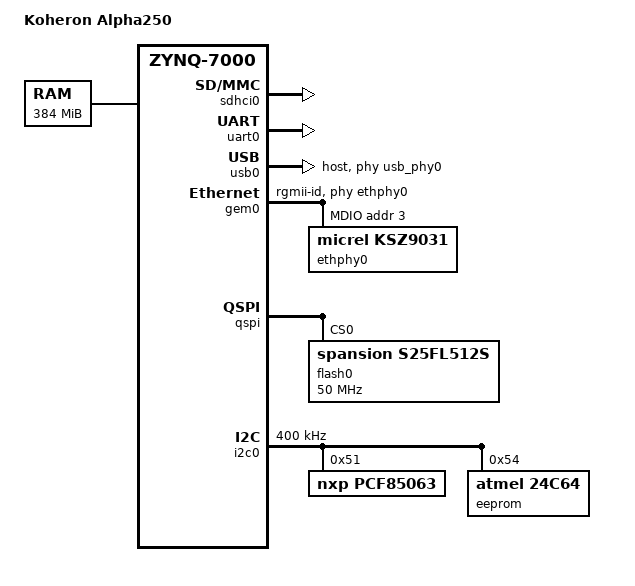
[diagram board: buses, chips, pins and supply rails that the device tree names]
/*
    * Koheron Alpha250 devicetree
     *
      * Copyright (C) 2015 Antmicro Ltd
       * Copyright (C) 2017 Koheron SAS
        *
         * SPDX-License-Identifier: GPL-2.0+
          */
/dts-v1/;
#include "zynq-7000.dtsi"
/ {
  model = "Koheron Alpha250";
  compatible = "xlnx,zynq-alpha250","xlnx,zynq-7000";
  aliases {
    serial0 = &uart0;
    mmc0 = &sdhci0;
    ethernet0 = &gem0;
    i2c0 = &i2c0;
  };
  memory@0 {
      device_type = "memory";
      reg = <0 0x18000000>;
    };
  chosen {
      bootargs = "";
      stdout-path = "serial0:115200n8";
    };
  usb_phy0: phy0@e0002000 {
    compatible = "ulpi-phy";
    #phy-cells = <0>;
    reg = <0xe0002000 0x1000>;
    view-port = <0x0170>;
    drv-vbus;
 };
};
&sdhci0 {
  bootph-pre-ram;
  status = "okay";
};
&uart0 {
  bootph-pre-ram;
  status = "okay";
};
&usb0 {
  status = "okay";
  dr_mode = "host";
  usb-phy = <&usb_phy0>;
};
&gem0 {
  status = "okay";
  phy-mode = "rgmii-id";
  phy-handle = <&ethphy0>;
  /* local-mac-address : FSBL/env import already provides ethaddr */
  mdio {
    #address-cells = <1>;
    #size-cells = <0>;

    ethphy0: ethernet-phy@3 {
      reg = <3>;
      compatible = "micrel,ksz9031";
      rxc-skew-ps = <1860>;
      rxdv-skew-ps = <420>;
      txc-skew-ps = <1860>;
      txen-skew-ps = <420>;
    };
  };
};
&qspi {
  status = "okay";
  num-cs = <1>;
  is-dual = <0>;
  bootph-pre-ram;
  flash0: flash@0 {
    reg = <0>;
    compatible = "spansion,s25fl512s", "jedec,spi-nor";
    spi-max-frequency = <50000000>;
    spi-rx-bus-width = <4>;
    spi-tx-bus-width = <4>;
  };
};
&i2c0 {
  status = "okay";
  clock-frequency = <400000>;
  bootph-pre-ram;

  pcf85063: rtc@51 {
    compatible = "nxp,pcf85063";
    reg = <0x51>;
    status = "okay";
  };

  eeprom@54 {
    compatible = "atmel,24c64";
    reg = <0x54>;              /* 0b1010100 */
    pagesize = <32>;
    size = <8192>;             /* bytes (64 kbit) */
    address-width = <16>;      /* 16-bit word address */
    bootph-pre-ram;
  };
};
